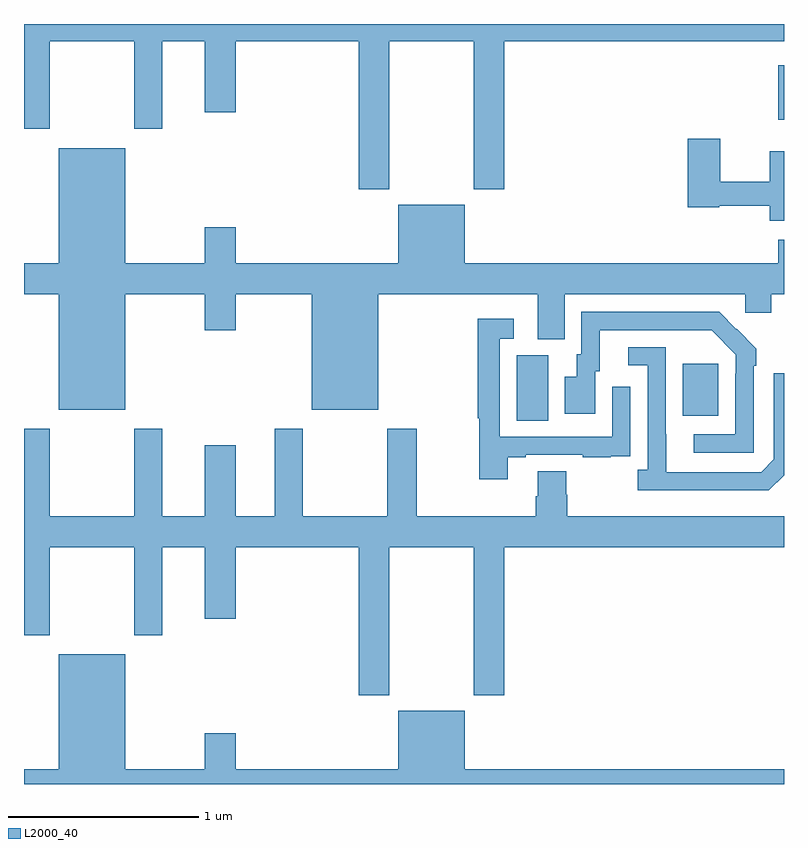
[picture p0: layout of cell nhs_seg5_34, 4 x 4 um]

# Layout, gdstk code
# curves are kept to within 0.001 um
import gdstk
lib = gdstk.Library(unit=1e-6, precision=1e-09)
def R(c, l, rs):  # rectangles x0, y0, x1, y1
    for r in rs: c.add(gdstk.rectangle(r[:2], r[2:], *l))
def P(c, l, *ps):  # polygons
    for p in ps: c.add(gdstk.Polygon(p, *l))
L2000_40 = (2000, 40)

nhs_seg5_34 = lib.new_cell('nhs_seg5_34')
R(nhs_seg5_34, L2000_40, [(113.594,906.712,113.758,907.056), (114.467,906.737,114.655,907.012), (114.971,908.294,115,908.581)])
P(nhs_seg5_34, L2000_40, [(112.923,908.708),(113.368,908.708),(113.368,907.929),(113.528,907.929),(113.528,908.708),(115,908.708),(115,908.799),(111,908.799),(111,908.247),(111.135,908.247),(111.135,908.708),(111.58,908.708),(111.58,908.247),(111.727,908.247),(111.727,908.708),(111.95,908.708),(111.95,908.334),(112.114,908.334),(112.114,908.708),(112.763,908.708),(112.763,907.929),(112.923,907.929)],
  [(115,908.128),(114.926,908.128),(114.926,907.97),(114.664,907.97),(114.664,908.194),(114.494,908.194),(114.494,907.834),(114.66,907.834),(114.66,907.842),(114.926,907.842),(114.926,907.764),(115,907.764)],
  [(111.532,907.376),(111.95,907.376),(111.95,907.188),(112.114,907.188),(112.114,907.376),(112.514,907.376),(112.514,906.77),(112.864,906.77),(112.864,907.376),(113.705,907.376),(113.705,907.141),(113.845,907.141),(113.845,907.376),(114.795,907.376),(114.795,907.278),(114.934,907.278),(114.934,907.376),(115,907.376),(115,907.664),(114.971,907.664),(114.971,907.54),(113.32,907.54),(113.32,907.849),(112.97,907.849),(112.97,907.54),(112.114,907.54),(112.114,907.729),(111.95,907.729),(111.95,907.54),(111.532,907.54),(111.532,908.146),(111.182,908.146),(111.182,907.54),(111,907.54),(111,907.376),(111.182,907.376),(111.182,906.77),(111.532,906.77)],
  [(114.84,907.001),(114.855,907.001),(114.855,907.089),(114.658,907.284),(113.934,907.284),(113.934,907.062),(113.909,907.062),(113.909,906.943),(113.846,906.943),(113.846,906.747),(114.007,906.747),(114.007,906.972),(114.031,906.972),(114.031,907.188),(114.619,907.188),(114.747,907.059),(114.747,906.959),(114.744,906.959),(114.744,906.639),(114.525,906.639),(114.525,906.543),(114.84,906.543)],
  [(113.545,906.519),(113.641,906.519),(113.641,906.531),(113.941,906.531),(113.941,906.519),(114.089,906.519),(114.089,906.525),(114.191,906.525),(114.191,906.634),(114.192,906.634),(114.192,906.889),(114.096,906.889),(114.096,906.627),(113.505,906.627),(113.505,907.143),(113.578,907.143),(113.578,907.249),(113.389,907.249),(113.389,906.724),(113.397,906.724),(113.397,906.402),(113.545,906.402)],
  [(115,906.424),(115,906.961),(114.945,906.961),(114.945,906.507),(114.879,906.441),(114.379,906.441),(114.378,907.098),(114.18,907.098),(114.18,907.002),(114.282,907.002),(114.282,906.454),(114.231,906.454),(114.231,906.344),(114.92,906.344)],
  [(112.923,906.044),(113.368,906.044),(113.368,905.265),(113.528,905.265),(113.528,906.044),(115,906.044),(115,906.208),(113.858,906.208),(113.858,906.321),(113.853,906.321),(113.853,906.446),(113.705,906.446),(113.705,906.314),(113.693,906.314),(113.693,906.208),(113.067,906.208),(113.067,906.67),(112.912,906.67),(112.912,906.208),(112.467,906.208),(112.467,906.67),(112.319,906.67),(112.319,906.208),(112.114,906.208),(112.114,906.583),(111.95,906.583),(111.95,906.208),(111.727,906.208),(111.727,906.67),(111.58,906.67),(111.58,906.208),(111.135,906.208),(111.135,906.67),(111,906.67),(111,905.583),(111.135,905.583),(111.135,906.044),(111.58,906.044),(111.58,905.583),(111.727,905.583),(111.727,906.044),(111.95,906.044),(111.95,905.67),(112.114,905.67),(112.114,906.044),(112.763,906.044),(112.763,905.265),(112.923,905.265)],
  [(115,904.876),(113.32,904.876),(113.32,905.185),(112.97,905.185),(112.97,904.876),(112.114,904.876),(112.114,905.065),(111.95,905.065),(111.95,904.876),(111.532,904.876),(111.532,905.482),(111.182,905.482),(111.182,904.876),(111,904.876),(111,904.799),(115,904.799)])

lib.write_gds('nhs_seg5_34.gds')
